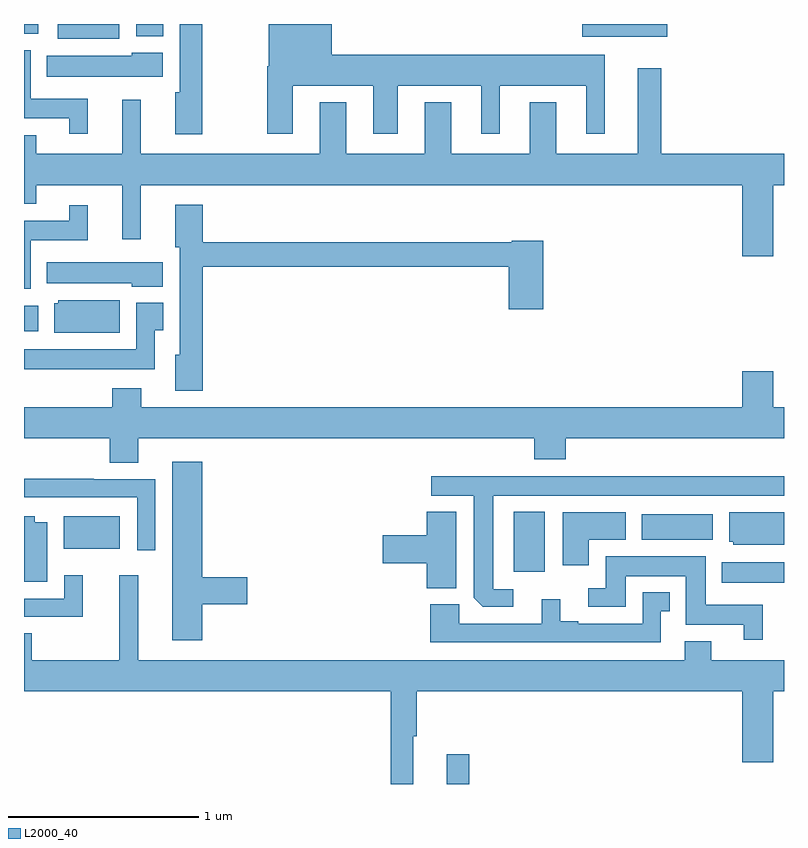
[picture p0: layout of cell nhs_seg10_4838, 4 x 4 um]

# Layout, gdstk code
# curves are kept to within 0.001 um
import gdstk
lib = gdstk.Library(unit=1e-6, precision=1e-09)
def R(c, l, rs):  # rectangles x0, y0, x1, y1
    for r in rs: c.add(gdstk.rectangle(r[:2], r[2:], *l))
def P(c, l, *ps):  # polygons
    for p in ps: c.add(gdstk.Polygon(p, *l))
L2000_40 = (2000, 40)

nhs_seg10_4838 = lib.new_cell('nhs_seg10_4838')
R(nhs_seg10_4838, L2000_40, [(391.226,1294.5,391.343,1294.657), (392.672,1295.558,393,1295.668), (391.577,1295.616,391.741,1295.932), (389.21,1295.738,389.503,1295.908), (392.252,1295.786,392.626,1295.92), (389,1296.884,389.074,1297.018), (389.177,1298.423,389.5,1298.5), (391.938,1298.432,392.386,1298.5), (389.592,1298.436,389.734,1298.5), (389,1298.45,389.074,1298.5)])
P(nhs_seg10_4838, L2000_40, [(389.937,1298.5),(389.819,1298.5),(389.819,1298.142),(389.795,1298.142),(389.795,1297.92),(389.937,1297.92)],
  [(390.415,1298.174),(390.839,1298.174),(390.839,1297.923),(390.967,1297.923),(390.967,1298.174),(391.406,1298.174),(391.406,1297.923),(391.504,1297.923),(391.504,1298.174),(391.958,1298.174),(391.958,1297.923),(392.056,1297.923),(392.056,1298.338),(390.619,1298.338),(390.619,1298.5),(390.287,1298.5),(390.287,1298.278),(390.28,1298.278),(390.28,1297.923),(390.415,1297.923)],
  [(389.336,1298.107),(389.035,1298.107),(389.035,1298.362),(389,1298.362),(389,1298.003),(389.237,1298.003),(389.237,1297.923),(389.336,1297.923)],
  [(389.731,1298.35),(389.568,1298.35),(389.568,1298.332),(389.12,1298.332),(389.12,1298.222),(389.731,1298.222)],
  [(392.944,1297.652),(393,1297.652),(393,1297.816),(392.353,1297.816),(392.353,1298.266),(392.231,1298.266),(392.231,1297.816),(391.801,1297.816),(391.801,1298.089),(391.661,1298.089),(391.661,1297.816),(391.249,1297.816),(391.249,1298.089),(391.109,1298.089),(391.109,1297.816),(390.697,1297.816),(390.697,1298.089),(390.557,1298.089),(390.557,1297.816),(389.615,1297.816),(389.615,1298.101),(389.516,1298.101),(389.516,1297.816),(389.065,1297.816),(389.065,1297.915),(389,1297.915),(389,1297.553),(389.065,1297.553),(389.065,1297.652),(389.516,1297.652),(389.516,1297.368),(389.615,1297.368),(389.615,1297.652),(392.78,1297.652),(392.78,1297.278),(392.944,1297.278)],
  [(389.942,1297.222),(391.55,1297.222),(391.55,1296.999),(391.733,1296.999),(391.733,1297.359),(391.566,1297.359),(391.566,1297.351),(389.942,1297.351),(389.942,1297.549),(389.795,1297.549),(389.795,1297.326),(389.819,1297.326),(389.819,1296.759),(389.795,1296.759),(389.795,1296.569),(389.942,1296.569)],
  [(389.035,1297.361),(389.336,1297.361),(389.336,1297.546),(389.237,1297.546),(389.237,1297.465),(389,1297.465),(389,1297.106),(389.035,1297.106)],
  [(389.731,1297.246),(389.12,1297.246),(389.12,1297.136),(389.568,1297.136),(389.568,1297.118),(389.731,1297.118)],
  [(389.503,1297.045),(389.181,1297.045),(389.181,1297.029),(389.159,1297.029),(389.159,1296.875),(389.503,1296.875)],
  [(389.689,1296.889),(389.734,1296.889),(389.734,1297.033),(389.592,1297.033),(389.592,1296.787),(389,1296.787),(389,1296.683),(389.689,1296.683)],
  [(389.602,1296.32),(391.685,1296.32),(391.685,1296.209),(391.85,1296.209),(391.85,1296.32),(393,1296.32),(393,1296.484),(392.944,1296.484),(392.944,1296.673),(392.78,1296.673),(392.78,1296.484),(389.617,1296.484),(389.617,1296.583),(389.465,1296.583),(389.465,1296.484),(389,1296.484),(389,1296.32),(389.45,1296.32),(389.45,1296.19),(389.602,1296.19)],
  [(389.939,1295.446),(390.175,1295.446),(390.175,1295.588),(389.939,1295.588),(389.939,1296.196),(389.78,1296.196),(389.78,1295.256),(389.939,1295.256)],
  [(391.576,1295.526),(391.471,1295.526),(391.471,1296.017),(393,1296.017),(393,1296.121),(391.143,1296.121),(391.143,1296.017),(391.367,1296.017),(391.368,1295.479),(391.414,1295.433),(391.576,1295.433)],
  [(389.691,1296.105),(389.366,1296.105),(389.366,1296.107),(389,1296.107),(389,1296.009),(389.595,1296.009),(389.595,1295.73),(389.691,1295.73)],
  [(391.276,1295.932),(391.121,1295.932),(391.121,1295.81),(390.888,1295.81),(390.888,1295.663),(391.121,1295.663),(391.121,1295.531),(391.276,1295.531)],
  [(393,1295.929),(392.711,1295.929),(392.711,1295.775),(392.733,1295.775),(392.733,1295.759),(393,1295.759)],
  [(391.972,1295.786),(392.167,1295.786),(392.167,1295.929),(391.835,1295.929),(391.835,1295.652),(391.972,1295.652)],
  [(389.122,1295.878),(389.056,1295.878),(389.056,1295.908),(389,1295.908),(389,1295.564),(389.122,1295.564)],
  [(392.888,1295.443),(392.587,1295.443),(392.587,1295.698),(392.063,1295.698),(392.063,1295.529),(391.971,1295.529),(391.971,1295.433),(392.167,1295.433),(392.167,1295.594),(392.483,1295.594),(392.483,1295.339),(392.789,1295.339),(392.789,1295.259),(392.888,1295.259)],
  [(389.309,1295.599),(389.211,1295.599),(389.211,1295.475),(389,1295.475),(389,1295.379),(389.309,1295.379)],
  [(391.049,1294.752),(391.067,1294.752),(391.067,1294.988),(392.78,1294.988),(392.78,1294.614),(392.944,1294.614),(392.944,1294.988),(393,1294.988),(393,1295.152),(392.617,1295.152),(392.617,1295.251),(392.477,1295.251),(392.477,1295.152),(389.6,1295.152),(389.6,1295.599),(389.501,1295.599),(389.501,1295.152),(389.04,1295.152),(389.04,1295.294),(389,1295.294),(389,1294.988),(390.931,1294.988),(390.931,1294.5),(391.049,1294.5)],
  [(392.352,1295.409),(392.398,1295.409),(392.398,1295.509),(392.256,1295.509),(392.256,1295.343),(391.918,1295.343),(391.918,1295.356),(391.822,1295.356),(391.822,1295.473),(391.724,1295.473),(391.724,1295.343),(391.29,1295.343),(391.29,1295.446),(391.139,1295.446),(391.139,1295.247),(392.352,1295.247)])

lib.write_gds('nhs_seg10_4838.gds')
